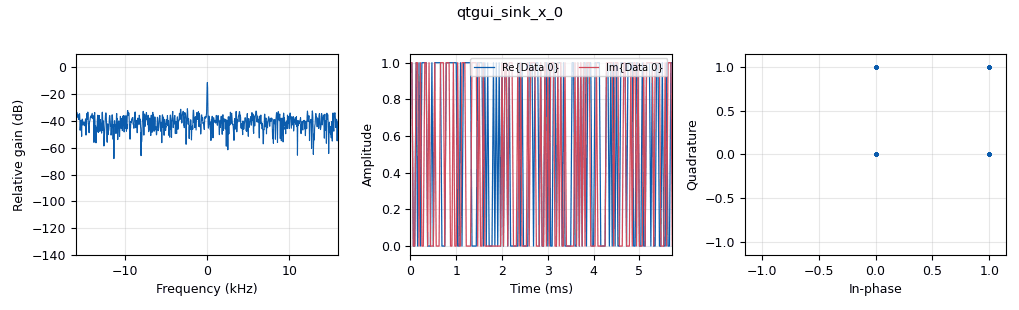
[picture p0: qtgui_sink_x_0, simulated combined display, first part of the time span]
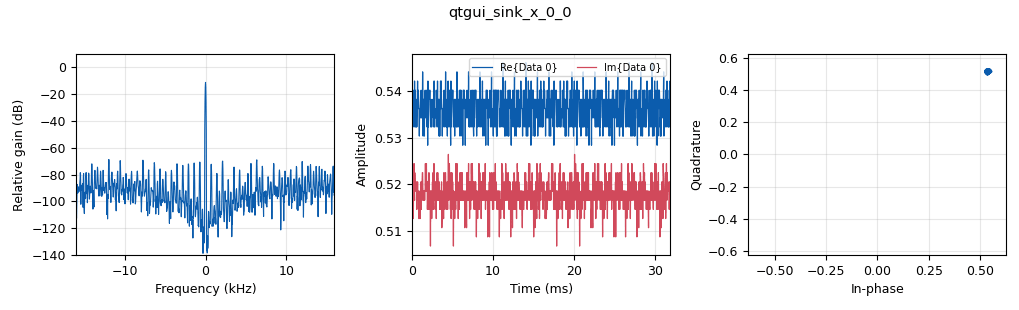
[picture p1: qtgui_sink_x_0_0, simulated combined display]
<?xml version='1.0' encoding='utf-8'?>
<?grc format='1' created='3.7.10'?>
<flow_graph>
<block>
<key>options</key>
<param><key>id</key><value>top_block</value></param>
<param><key>generate_options</key><value>qt_gui</value></param>
</block>
<block>
<key>variable</key>
<param><key>id</key><value>samp_rate</value></param>
<param><key>value</key><value>32000</value></param>
</block>
<block>
<key>analog_random_source_x</key>
<param><key>id</key><value>analog_random_source_x_0</value></param>
<param><key>max</key><value>2</value></param>
<param><key>min</key><value>0</value></param>
<param><key>num_samps</key><value>1000</value></param>
<param><key>type</key><value>byte</value></param>
<param><key>repeat</key><value>True</value></param>
</block>
<block>
<key>blocks_interleaved_char_to_complex</key>
<param><key>id</key><value>blocks_interleaved_char_to_complex_0</value></param>
<param><key>vector_input</key><value>False</value></param>
</block>
<block>
<key>blocks_throttle</key>
<param><key>id</key><value>blocks_throttle_0</value></param>
<param><key>samples_per_second</key><value>samp_rate</value></param>
<param><key>type</key><value>byte</value></param>
</block>
<block>
<key>digital_pn_correlator_cc</key>
<param><key>id</key><value>digital_pn_correlator_cc_0</value></param>
<param><key>degree</key><value>9</value></param>
<param><key>mask</key><value>1</value></param>
<param><key>seed</key><value>56</value></param>
</block>
<block>
<key>qtgui_sink_x</key>
<param><key>id</key><value>qtgui_sink_x_0</value></param>
<param><key>bw</key><value>samp_rate</value></param>
<param><key>fc</key><value>0</value></param>
<param><key>freqchangevar</key><value>None</value></param>
<param><key>fftsize</key><value>1024</value></param>
<param><key>showports</key><value>True</value></param>
<param><key>type</key><value>complex</value></param>
<param><key>wintype</key><value>firdes.WIN_BLACKMAN_hARRIS</value></param>
</block>
<block>
<key>qtgui_sink_x</key>
<param><key>id</key><value>qtgui_sink_x_0_0</value></param>
<param><key>bw</key><value>samp_rate</value></param>
<param><key>fc</key><value>0</value></param>
<param><key>freqchangevar</key><value>None</value></param>
<param><key>fftsize</key><value>1024</value></param>
<param><key>showports</key><value>True</value></param>
<param><key>type</key><value>complex</value></param>
<param><key>wintype</key><value>firdes.WIN_BLACKMAN_hARRIS</value></param>
</block>
<connection><source_block_id>analog_random_source_x_0</source_block_id><sink_block_id>blocks_throttle_0</sink_block_id><source_key>0</source_key><sink_key>0</sink_key></connection>
<connection><source_block_id>blocks_interleaved_char_to_complex_0</source_block_id><sink_block_id>digital_pn_correlator_cc_0</sink_block_id><source_key>0</source_key><sink_key>0</sink_key></connection>
<connection><source_block_id>blocks_interleaved_char_to_complex_0</source_block_id><sink_block_id>qtgui_sink_x_0</sink_block_id><source_key>0</source_key><sink_key>0</sink_key></connection>
<connection><source_block_id>blocks_throttle_0</source_block_id><sink_block_id>blocks_interleaved_char_to_complex_0</sink_block_id><source_key>0</source_key><sink_key>0</sink_key></connection>
<connection><source_block_id>digital_pn_correlator_cc_0</source_block_id><sink_block_id>qtgui_sink_x_0_0</sink_block_id><source_key>0</source_key><sink_key>0</sink_key></connection>
</flow_graph>
